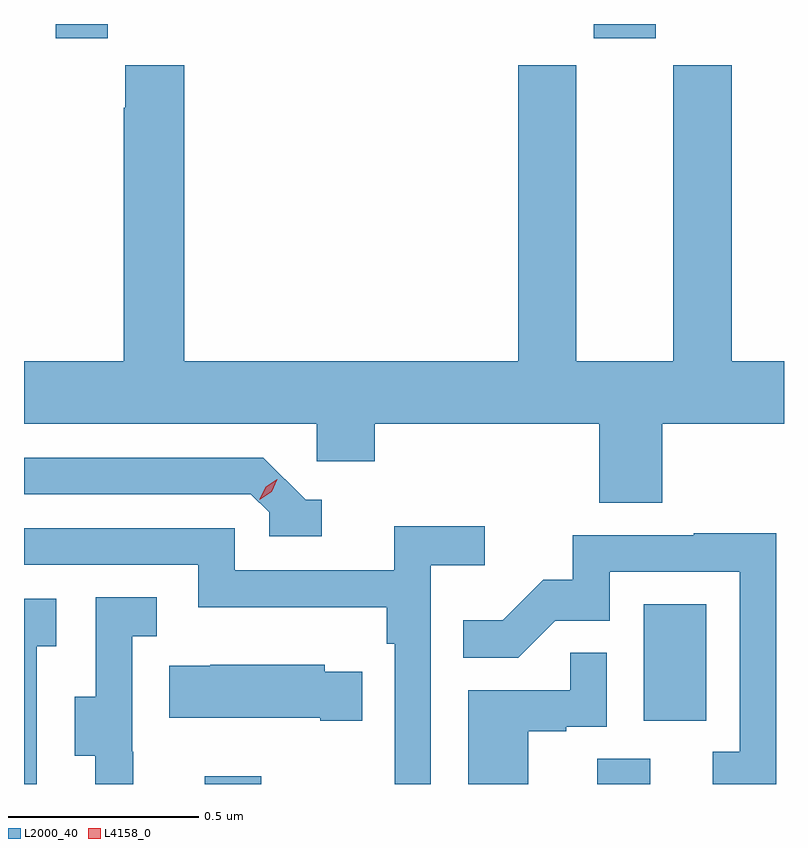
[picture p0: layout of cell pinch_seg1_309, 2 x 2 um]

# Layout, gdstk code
import gdstk
lib = gdstk.Library(unit=1e-6, precision=1e-09)
def R(c, l, rs):  # rectangles x0, y0, x1, y1
    for r in rs: c.add(gdstk.rectangle(r[:2], r[2:], *l))
def P(c, l, *ps):  # polygons
    for p in ps: c.add(gdstk.Polygon(p, *l))
L2000_40 = (2000, 40)
L4158_0 = (4158, 0)

pinch_seg1_309 = lib.new_cell('pinch_seg1_309')
R(pinch_seg1_309, L2000_40, [(930.107,550.784,930.255,550.804), (931.139,550.784,931.279,550.85), (931.262,550.95,931.426,551.257), (929.714,552.747,929.851,552.784), (931.13,552.747,931.294,552.784)])
P(pinch_seg1_309, L2000_40, [(930.402,551.634),(930.554,551.634),(930.554,551.732),(931.145,551.732),(931.145,551.524),(931.31,551.524),(931.31,551.732),(931.631,551.732),(931.631,551.896),(931.493,551.896),(931.493,552.675),(931.34,552.675),(931.34,551.896),(931.084,551.896),(931.084,552.675),(930.932,552.675),(930.932,551.896),(930.053,551.896),(930.053,552.676),(929.897,552.676),(929.897,552.563),(929.893,552.563),(929.893,551.896),(929.631,551.896),(929.631,551.732),(930.402,551.732)],
  [(930.415,551.532),(930.372,551.532),(930.261,551.643),(929.631,551.643),(929.631,551.547),(930.228,551.547),(930.276,551.499),(930.276,551.436),(930.415,551.436)],
  [(930.702,551.36),(930.844,551.36),(930.844,551.462),(930.605,551.462),(930.605,551.346),(930.186,551.346),(930.186,551.457),(929.631,551.457),(929.631,551.361),(930.09,551.361),(930.09,551.249),(930.586,551.249),(930.586,551.153),(930.606,551.153),(930.606,550.784),(930.702,550.784)],
  [(931.611,551.444),(931.393,551.444),(931.393,551.439),(931.075,551.439),(931.075,551.322),(930.998,551.322),(930.891,551.215),(930.787,551.215),(930.787,551.116),(930.931,551.116),(931.029,551.214),(931.173,551.214),(931.173,551.343),(931.515,551.343),(931.515,550.869),(931.443,550.869),(931.443,550.784),(931.611,550.784)],
  [(929.918,550.869),(929.916,550.869),(929.916,551.173),(929.98,551.173),(929.98,551.276),(929.82,551.276),(929.82,551.013),(929.765,551.013),(929.765,550.858),(929.819,550.858),(929.819,550.784),(929.918,550.784)],
  [(929.664,551.147),(929.716,551.147),(929.716,551.271),(929.631,551.271),(929.631,550.784),(929.664,550.784)],
  [(930.958,550.923),(931.058,550.923),(931.058,550.935),(931.164,550.935),(931.164,551.129),(931.069,551.129),(931.069,551.031),(930.8,551.031),(930.8,550.784),(930.958,550.784)],
  [(930.521,551.08),(930.423,551.08),(930.423,551.098),(930.121,551.098),(930.121,551.095),(930.013,551.095),(930.013,550.958),(930.41,550.958),(930.41,550.951),(930.521,550.951)])
P(pinch_seg1_309, L4158_0, [(930.252,551.532),(930.252,551.533),(930.267,551.566),(930.298,551.586),(930.298,551.586),(930.298,551.586),(930.283,551.553),(930.252,551.532)])

lib.write_gds('pinch_seg1_309.gds')
